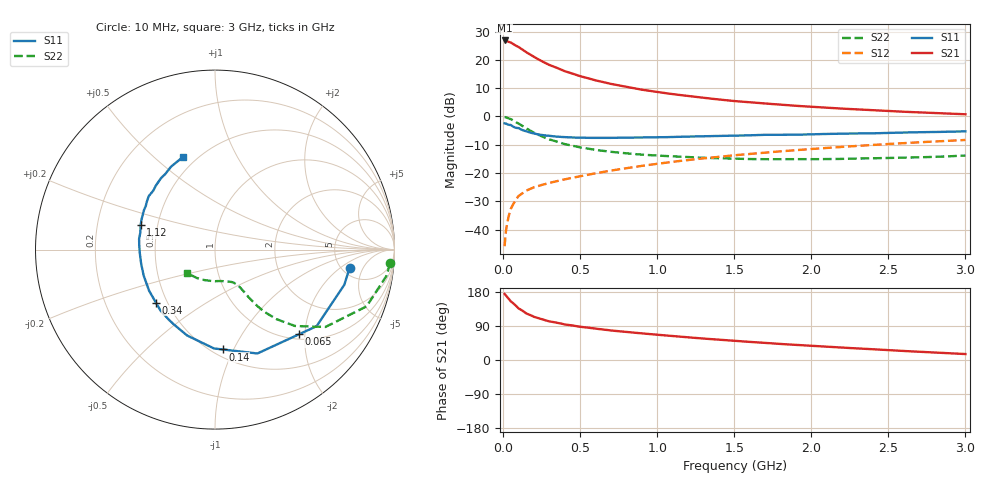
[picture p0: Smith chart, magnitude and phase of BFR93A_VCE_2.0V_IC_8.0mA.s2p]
! Infineon Technologies  Discrete & RF Semiconductors
! BFR93A
! VCE =  2.0 V,  IC =  8.0 mA
! Common Emitter S-Parameters:  Nov 2015
# GHz  S  MA  R  50
!  f  S11  S21  S12  S22
! GHz  MAG  ANG  MAG  ANG  MAG  ANG  MAG  ANG
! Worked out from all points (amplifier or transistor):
!   180 points, 10 MHz to 3 GHz, reference 50 ohm
!   highest |S21| = 26.9 dB at 10 MHz (marker M1)
!   |S21| within 3 dB of that: start of sweep to 118.9 MHz
!   unconditionally stable (mu >= 1): 597.2 MHz to end of sweep
!   at 160 MHz: K = 0.45, MSG = 24.2 dB, |S12| = -26.0 dB
!   at 1.22 GHz: K = 1.11, MAG = 9.2 dB, |S12| = -15.3 dB
!   at 3 GHz: K = 1.00, MAG = 4.2 dB, |S12| = -8.3 dB
!   S11 on the Smith chart (normalised r, x): 10 MHz: 5.84, -2.80; 65 MHz: 1.10, -1.86; 140 MHz: 0.56, -0.91; 340 MHz: 0.43, -0.32; 1.12 GHz: 0.40, +0.13; 3 GHz: 0.42, +0.62
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0.01  0.7565 -7.8  22.09 174.5  0.0051 85.6  0.9782 -4.4
0.02  0.7467 -15.2  21.8 169.3  0.01 81.5  0.9673 -8.6
0.05  0.709 -37.0  20.36 154.8  0.0232 72.8  0.9019 -20.5
0.065  0.6644 -45.3  19.14 150.0  0.0279 67.8  0.8514 -24.3
0.1  0.6251 -67.8  16.95 136.3  0.0392 61.0  0.7513 -35.0
0.14  0.558 -85.6  14.3 126.1  0.0468 55.8  0.6415 -41.7
0.15  0.5508 -90.6  13.72 123.0  0.0488 54.8  0.6157 -43.7
0.2  0.503 -108.0  11.3 114.0  0.056 52.7  0.5176 -48.5
0.22  0.4874 -113.2  10.56 111.5  0.0582 52.2  0.4886 -49.6
0.26  0.4675 -123.5  9.227 106.2  0.0626 51.7  0.4352 -51.8
0.3  0.4556 -131.8  8.162 101.9  0.0668 51.9  0.3939 -53.1
0.34  0.4423 -138.1  7.41 99.1  0.071 52.6  0.3663 -53.7
0.4  0.4329 -148.0  6.323 93.8  0.0774 53.4  0.3249 -54.8
0.52  0.4213 -161.7  4.999 86.8  0.09 55.0  0.2786 -55.6
0.7  0.4192 -175.9  3.77 77.9  0.1105 57.0  0.2374 -57.4
0.9  0.427 172.1  2.978 70.3  0.1339 57.8  0.2115 -60.6
1.02  0.4283 166.0  2.662 66.0  0.1481 57.8  0.2026 -63.0
1.12  0.436 161.9  2.449 62.6  0.1602 57.5  0.196 -65.9
1.52  0.4575 147.1  1.856 50.1  0.2085 55.5  0.1789 -78.6
2.02  0.4863 132.3  1.475 37.1  0.2685 51.4  0.1761 -97.8
2.52  0.5148 120.1  1.244 25.7  0.3288 45.9  0.1847 -118.5
3  0.5464 109.2  1.095 15.7  0.3847 39.9  0.2042 -140.6
